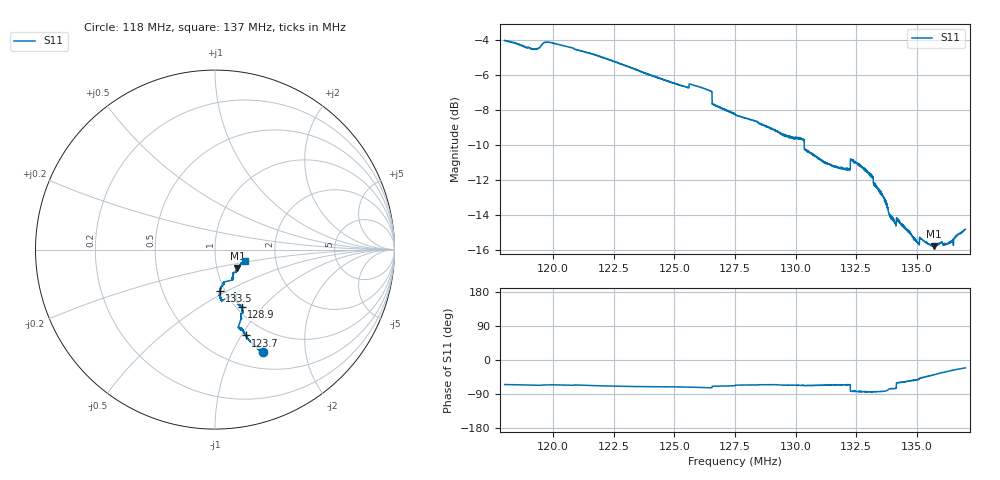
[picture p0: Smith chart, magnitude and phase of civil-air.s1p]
! Calibrated averaged scanner-service zoom
# Hz S RI R 50
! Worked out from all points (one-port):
!   2001 points, 118 MHz to 137 MHz, reference 50 ohm
!   lowest |S11| = -15.8 dB at 135.7 MHz (marker M1), VSWR 1.39, Z = 62.8 - j13.3 ohm
!   |S11| at or under -10 dB: 130.4 MHz to end of sweep
!   S11 on the Smith chart (normalised r, x): 118 MHz: 0.70, -1.33; 123.7 MHz: 0.81, -1.05; 128.9 MHz: 1.06, -0.77; 133.5 MHz: 0.95, -0.46; 137 MHz: 1.39, -0.19
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1.18e8  0.2694 -0.5689
1.19292e8  0.2359 -0.5466
1.197005e8  0.2565 -0.5676
1.20375e8  0.2485 -0.5562
1.2275e8  0.1918 -0.5059
1.237285e8  0.1718 -0.478
1.25125e8  0.1516 -0.4464
1.26455e8  0.131 -0.4326
1.266545e8  0.1464 -0.3843
1.275e8  0.145 -0.3582
1.289155e8  0.1491 -0.32
1.29875e8  0.1337 -0.3031
1.30255e8  0.1283 -0.3015
1.304545e8  0.1155 -0.2834
1.31205e8  0.1115 -0.2592
1.32155e8  0.1106 -0.2451
1.3225e8  0.1142 -0.2433
1.323545e8  0.0361 -0.2827
1.330955e8  0.0276 -0.2599
1.33466e8  0.0268 -0.2288
1.34055e8  0.0478 -0.1843
1.342545e8  0.0972 -0.1646
1.34625e8  0.0992 -0.1481
1.35005e8  0.1024 -0.132
1.352045e8  0.1168 -0.1235
1.35689e8  0.1252 -0.103
1.362875e8  0.1433 -0.0818
1.37e8  0.1694 -0.0642
